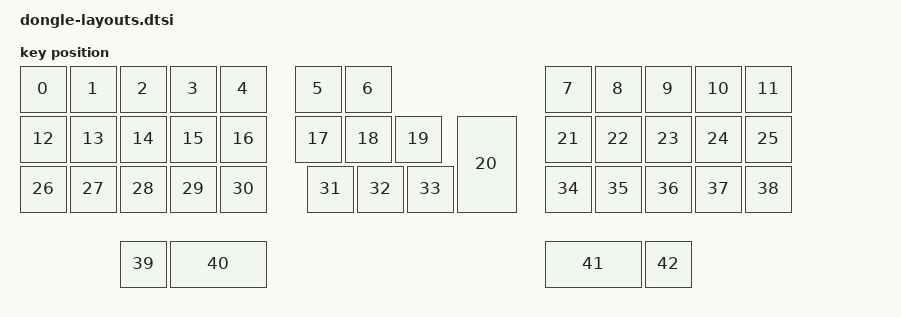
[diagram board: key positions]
#include <physical_layouts.dtsi>

&uart0 {
    status = "okay";
    compatible = "nordic,nrf-uarte";
    current-speed = <115200>;
     pinctrl-0 = <&uart0_default>;
};

/ {
    dongle_layout: dongle_layout {
        compatible = "zmk,physical-layout";
        display-name = "dongle";
        kscan = <&kscan>;
        transform = <&matrix_transform>;


        keys  //                     w   h    x    y     rot    rx    ry
            = <&key_physical_attrs 100 100    0    0       0     0     0>
            , <&key_physical_attrs 100 100  100    0       0     0     0>
            , <&key_physical_attrs 100 100  200    0       0     0     0>
            , <&key_physical_attrs 100 100  300    0       0     0     0>
            , <&key_physical_attrs 100 100  400    0       0     0     0>
            , <&key_physical_attrs 100 100  550    0       0     0     0>
            , <&key_physical_attrs 100 100  650    0       0     0     0>
            , <&key_physical_attrs 100 100 1050    0       0     0     0>
            , <&key_physical_attrs 100 100 1150    0       0     0     0>
            , <&key_physical_attrs 100 100 1250    0       0     0     0>
            , <&key_physical_attrs 100 100 1350    0       0     0     0>
            , <&key_physical_attrs 100 100 1450    0       0     0     0>
            , <&key_physical_attrs 100 100    0  100       0     0     0>
            , <&key_physical_attrs 100 100  100  100       0     0     0>
            , <&key_physical_attrs 100 100  200  100       0     0     0>
            , <&key_physical_attrs 100 100  300  100       0     0     0>
            , <&key_physical_attrs 100 100  400  100       0     0     0>
            , <&key_physical_attrs 100 100  550  100       0     0     0>
            , <&key_physical_attrs 100 100  650  100       0     0     0>
            , <&key_physical_attrs 100 100  750  100       0     0     0>
            , <&key_physical_attrs 125 200  875  100       0     0     0>
            , <&key_physical_attrs 100 100 1050  100       0     0     0>
            , <&key_physical_attrs 100 100 1150  100       0     0     0>
            , <&key_physical_attrs 100 100 1250  100       0     0     0>
            , <&key_physical_attrs 100 100 1350  100       0     0     0>
            , <&key_physical_attrs 100 100 1450  100       0     0     0>
            , <&key_physical_attrs 100 100    0  200       0     0     0>
            , <&key_physical_attrs 100 100  100  200       0     0     0>
            , <&key_physical_attrs 100 100  200  200       0     0     0>
            , <&key_physical_attrs 100 100  300  200       0     0     0>
            , <&key_physical_attrs 100 100  400  200       0     0     0>
            , <&key_physical_attrs 100 100  575  200       0     0     0>
            , <&key_physical_attrs 100 100  675  200       0     0     0>
            , <&key_physical_attrs 100 100  775  200       0     0     0>
            , <&key_physical_attrs 100 100 1050  200       0     0     0>
            , <&key_physical_attrs 100 100 1150  200       0     0     0>
            , <&key_physical_attrs 100 100 1250  200       0     0     0>
            , <&key_physical_attrs 100 100 1350  200       0     0     0>
            , <&key_physical_attrs 100 100 1450  200       0     0     0>
            , <&key_physical_attrs 100 100  200  350       0     0     0>
            , <&key_physical_attrs 200 100  300  350       0     0     0>
            , <&key_physical_attrs 200 100 1050  350       0     0     0>
            , <&key_physical_attrs 100 100 1250  350       0     0     0>
            ;
    };
};
